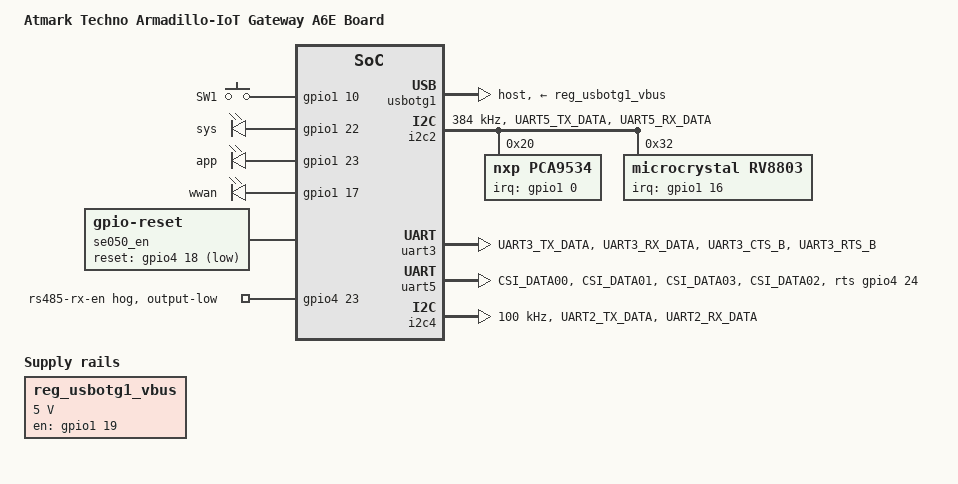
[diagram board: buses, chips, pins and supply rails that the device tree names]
// SPDX-License-Identifier: (GPL-2.0 OR MIT)
/*
 * Copyright (C) 2022 Atmark Techno, Inc. All Rights Reserved.
 */

#include "armadillo-610.dtsi"

/ {
	model = "Atmark Techno Armadillo-IoT Gateway A6E Board";

	chosen {
		stdout-path = &uart3;
	};

	aliases {
		rtc0 = &rv8803;
		rtc1 = &snvs_rtc;
	};

	regulators {
		compatible = "simple-bus";
		#address-cells = <1>;
		#size-cells = <0>;

		reg_usbotg1_vbus: regulator-usbotg1vbus {
			pinctrl-names = "default";
			pinctrl-0 = <&pinctrl_usbotg1_vbus>;
			compatible = "regulator-fixed";
			regulator-name = "USB_OTG1_VBUS";
			regulator-min-microvolt = <5000000>;
			regulator-max-microvolt = <5000000>;
			gpio = <&gpio1 19 GPIO_ACTIVE_HIGH>;
			enable-active-high;
		};
	};

	gpio-keys {
		compatible = "gpio-keys";
		pinctrl-names = "default";
		pinctrl-0 = <&pinctrl_gpio_keys>;

		sw1 {
			label = "SW1";
			gpios = <&gpio1 10 GPIO_ACTIVE_HIGH>;
			linux,code = <KEY_PROG1>;
			wakeup-source;
		};
	};

	gpio-leds {
		compatible = "gpio-leds";
		pinctrl-names = "default";
		pinctrl-0 = <&pinctrl_gpio_leds>;

		led1 {
			label = "sys";
			gpios = <&gpio1 22 GPIO_ACTIVE_HIGH>;
			linux,default-trigger = "default-on";
		};
		led2 {
			label = "app";
			gpios = <&gpio1 23 GPIO_ACTIVE_HIGH>;
			linux,default-trigger = "none";
		};
		led3 {
			label = "wwan";
			gpios = <&gpio1 17 GPIO_ACTIVE_HIGH>;
			linux,default-trigger = "none";
		};
	};

	se050_en: se050-enable {
		compatible = "gpio-reset";
		pinctrl-names = "default";
		pinctrl-0 = <&pinctrl_se050_enable>;
		reset-gpios = <&gpio4 18 GPIO_ACTIVE_LOW>;
		reset-assert-in-suspend;
	};

	/* Armadillo-IoT Gateway A6E is not covered by ERR010661. */
};


&iomuxc {
	pinctrl-names = "default";
	pinctrl-0 = <
		&pinctrl_expansion_interfacehog
		&pinctrl_customize
	>;

	pinctrl_expansion_interfacehog: expansion_interfacehoggrp {
		/* this group left empty for at-dtweb expansion GPIOs */
	};

	pinctrl_customize: customizegrp {
		/* this group left empty for armadillo-600-customize */
	};

	/* Memo for pinctrl config:
	 * Note: Not applicable to DRAM, JTAG pins, etc.
	 *
	 * bit	 | description
	 * ------+-------------------------------------------------
	 * 31	 | No pin config need
	 *	 |  0: Overwrite IOMUXC_SW_PAD_CTL
	 *	 |  1: Do not overwrite IOMUXC_SW_PAD_CTL
	 * 30	 | SION
	 *	 |  0: Disabled
	 *	 |  1: Enabled
	 * 29-17 | This field is reserved.
	 * 16	 | Hyst. Enable Field
	 *	 |  0: Disabled
	 *	 |  1: Enabled
	 * 15-14 | Pull Up / Down Config. Field
	 *	 |  00: 100 kOhm PD
	 *	 |  01:	 47 kOhm PU
	 *	 |  10: 100 kOhm PU
	 *	 |  11:	 22 kOhm PU
	 * 13	 | Pull / Keep Select Field
	 *	 |  0: Keeper
	 *	 |  1: Pull
	 * 12	 | Pull / Keep Enable Field
	 *	 |  0: Disabled
	 *	 |  1: Enabled
	 * 11	 | Open Drain Enable Field
	 *	 |  0: Disabled
	 *	 |  1: Enabled
	 * 10-8	 | This field is reserved.
	 * 7-6	 | Speed Field
	 *	 |  00: low(50MHz)
	 *	 |  01: medium(100MHz)
	 *	 |  10: medium(100MHz)
	 *	 |  11: max(200MHz)
	 * 5-3	 | Drive Strength Field
	 *	 |  000: output driver disabled
	 *	 |  001: R0(260 Ohm@3.3V, 150 Ohm@1.8V, 240 Ohm@DDR)
	 *	 |  010: R0/2
	 *	 |  011: R0/3
	 *	 |  100: R0/4
	 *	 |  101: R0/5
	 *	 |  110: R0/6
	 *	 |  111: R0/7
	 * 2-1	 | This field is reserved.
	 * 0	 | Slew Rate Field
	 *	 |  0: Slow
	 *	 |  1: Enabled
	 */
	pinctrl_usbotg1_vbus: usbotg1vbusgrp {
		fsl,pins = <
			MX6UL_PAD_UART1_RTS_B__GPIO1_IO19	0x00008
		>;
	};

	pinctrl_i2c2: i2c2grp {
		fsl,pins = <
			MX6UL_PAD_UART5_TX_DATA__I2C2_SCL	0x4001b8b0 /* TCA9534 SCL */
			MX6UL_PAD_UART5_RX_DATA__I2C2_SDA	0x4001b8b0 /* TCA9534 SDA*/
		>;
	};

	pinctrl_pca9534: pca9534grp {
		fsl,pins = <
			MX6UL_PAD_GPIO1_IO00__GPIO1_IO00	0x1b0b0 /* TCA9534 INT */
		>;
	};

	pinctrl_uart3: uart3grp {
		fsl,pins= <
			MX6UL_PAD_UART3_TX_DATA__UART3_DCE_TX	0x00008
			MX6UL_PAD_UART3_RX_DATA__UART3_DCE_RX	0x1b0b1
			MX6UL_PAD_UART3_CTS_B__UART3_DCE_CTS	0x00008
			MX6UL_PAD_UART3_RTS_B__UART3_DCE_RTS	0x1b0b1
		>;
	};

	pinctrl_uart5: uart5grp {
		fsl,pins= <
			MX6UL_PAD_CSI_DATA00__UART5_DCE_TX	0x00008 /* ISL83485 DI */
			MX6UL_PAD_CSI_DATA01__UART5_DCE_RX	0x1b0b1 /* ISL83485 RO */
			MX6UL_PAD_CSI_DATA03__GPIO4_IO24	0x00008 /* ISL83485 DE */
			MX6UL_PAD_CSI_DATA02__GPIO4_IO23	0x00008 /* ISL83485 RE */
		>;
	};

	pinctrl_rv8803: rv8803grp {
		fsl,pins = <
			MX6UL_PAD_UART1_TX_DATA__GPIO1_IO16	0x08000 /* RV-8803 INT */
		>;
	};

	pinctrl_gpio_keys: gpiokeysgrp {
		fsl,pins = <
			MX6UL_PAD_JTAG_MOD__GPIO1_IO10	0x13080 /* SW1 */
		>;
	};

	pinctrl_gpio_leds: gpioledsgrp {
		fsl,pins = <
			MX6UL_PAD_UART2_CTS_B__GPIO1_IO22	0x00008 /* LED1 */
			MX6UL_PAD_UART2_RTS_B__GPIO1_IO23	0x00008 /* LED2 */
			MX6UL_PAD_UART1_RX_DATA__GPIO1_IO17	0x00008 /* LED3 */
		>;
	};

	pinctrl_i2c4: pinctrl_i2c4grp {
		fsl,pins = <
			MX6UL_PAD_UART2_TX_DATA__I2C4_SCL	0x4001b8a0
			MX6UL_PAD_UART2_RX_DATA__I2C4_SDA	0x4001b8a0
		>;
	};

	pinctrl_se050_enable: se050enable {
		fsl,pins = <
			MX6UL_PAD_CSI_PIXCLK__GPIO4_IO18	0x08008	/* SE050 ENA */
		>;
	};
};

&usbotg1 {
	vbus-supply = <&reg_usbotg1_vbus>;
	dr_mode = "host";
	disable-over-current;
	status = "okay";
};

&i2c2 {
	pinctrl-names = "default";
	pinctrl-0 = <&pinctrl_i2c2>;
	clock-frequency = <384000>;
	status = "okay";

	pca9534: gpio@20 {
		pinctrl-names = "default";
		pinctrl-0 = <&pinctrl_pca9534>;

		compatible = "nxp,pca9534";
		reg = <0x20>;

		gpio-controller;
		#gpio-cells = <2>;

		interrupt-parent = <&gpio1>;
		interrupts = <0 IRQ_TYPE_LEVEL_LOW>;

		wakeup-source;
	};

	rv8803: rtc@32 {
		pinctrl-names = "default";
		pinctrl-0 = <&pinctrl_rv8803>;

		compatible = "microcrystal,rv8803";
		reg = <0x32>;

		interrupt-parent = <&gpio1>;
		interrupts = <16 IRQ_TYPE_EDGE_FALLING>;

		wakeup-source;
	};
};

/* Debug UART */
&uart3 {
	pinctrl-names = "default";
	pinctrl-0 = <&pinctrl_uart3>;
	status = "okay";
	uart-has-rtscts;
};

/* ISL83485(RS485) */
&uart5 {
	pinctrl-names = "default";
	pinctrl-0 = <&pinctrl_uart5>;
	status = "okay";
	rts-gpios = <&gpio4 24 GPIO_ACTIVE_HIGH>;
	linux,rs485-enabled-at-boot-time;
};


&gpio4 {
	/* RX enable is controlled by the UART controller. Therefore,
	 * the RE of ISL83485 should always be enabled.
	 */
	rs485-rx-en {
		gpio-hog;
		gpios = <23 GPIO_ACTIVE_HIGH>;
		output-low;
		line-name = "rs485-rx-en";
	};
};

&i2c4 {
	pinctrl-names = "default";
	pinctrl-0 = <&pinctrl_i2c4>;
	clock-frequency = <100000>;
	status = "okay";
};

&gpio1 {
	gpio-line-names =
		/* GPIO1_IO00 - 03 */ "", "CON8_7", "CON8_8", "CON8_9",
		/* GPIO1_IO04 - 07 */ "CON8_10", "", "", "",
		/* GPIO1_IO08 - 11 */ "", "", "SW1", "",
		/* GPIO1_IO12 - 15 */ "", "", "", "",
		/* GPIO1_IO16 - 19 */ "", "LED_WWAN", "LED_YELLOW", "",
		/* GPIO1_IO20 - 23 */ "", "", "LED_SYS", "LED_APP",
		/* GPIO1_IO24 - 27 */ "", "", "", "",
		/* GPIO1_IO28 - 31 */ "", "", "", "";
};

&gpio3 {
	gpio-line-names =
		/* GPIO3_IO00 - 03 */ "", "", "", "",
		/* GPIO3_IO04 - 07 */ "", "CON8_14", "CON8_15", "CON8_16",
		/* GPIO3_IO08 - 11 */ "CON8_17", "", "CON8_19", "CON8_20",
		/* GPIO3_IO12 - 15 */ "CON8_21", "CON8_22", "CON8_23", "CON8_24",
		/* GPIO3_IO16 - 19 */ "CON8_25", "", "", "",
		/* GPIO3_IO20 - 23 */ "CON8_26", "CON8_27", "CON8_28", "",
		/* GPIO3_IO24 - 27 */ "", "CON8_29", "CON8_30", "CON8_31",
		/* GPIO3_IO28 - 31 */ "CON8_32", "", "", "";
};

&pca9534 {
	gpio-line-names =
		/* PCA9534_00 - 03 */ "DI1", "DI2", "DO1", "DO2",
		/* PCA9534_04 - 07 */ "", "", "", "";
};
